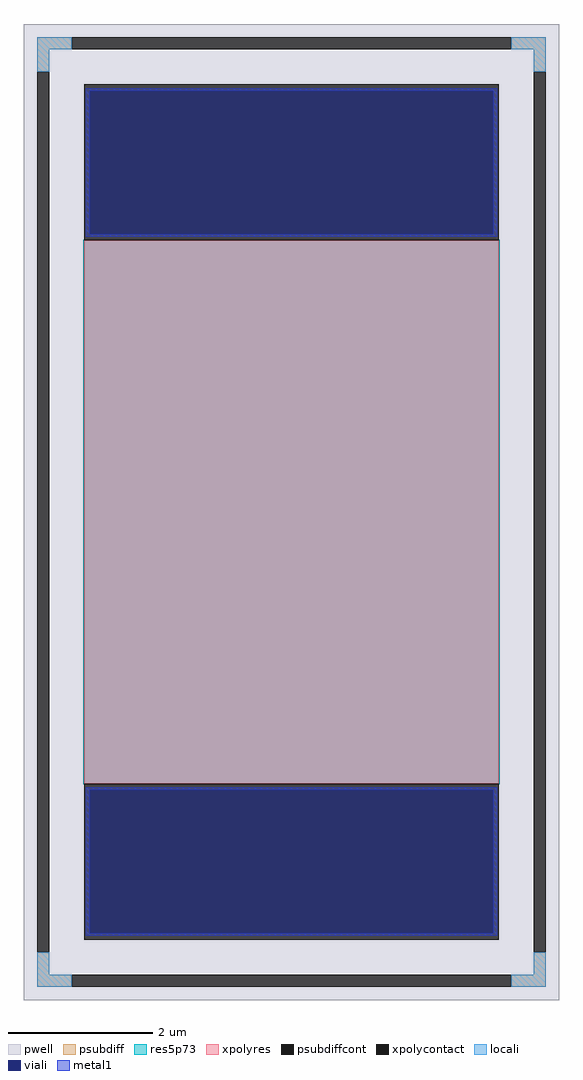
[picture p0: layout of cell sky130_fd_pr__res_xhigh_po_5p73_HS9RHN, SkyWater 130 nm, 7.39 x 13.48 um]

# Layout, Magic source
magic
tech sky130A
magscale 1 2
<< pwell >>
rect -739 -1348 739 1348
<< psubdiff >>
rect -703 1278 -607 1312
rect 607 1278 703 1312
rect -703 1216 -669 1278
rect 669 1216 703 1278
rect -703 -1278 -669 -1216
rect 669 -1278 703 -1216
rect -703 -1312 -607 -1278
rect 607 -1312 703 -1278
<< psubdiffcont >>
rect -607 1278 607 1312
rect -703 -1216 -669 1216
rect 669 -1216 703 1216
rect -607 -1312 607 -1278
<< xpolycontact >>
rect -573 750 573 1182
rect -573 -1182 573 -750
<< xpolyres >>
rect -573 -750 573 750
<< locali >>
rect -703 1278 -607 1312
rect 607 1278 703 1312
rect -703 1216 -669 1278
rect 669 1216 703 1278
rect -703 -1278 -669 -1216
rect 669 -1278 703 -1216
rect -703 -1312 -607 -1278
rect 607 -1312 703 -1278
<< viali >>
rect -557 767 557 1164
rect -557 -1164 557 -767
<< metal1 >>
rect -569 1164 569 1170
rect -569 767 -557 1164
rect 557 767 569 1164
rect -569 761 569 767
rect -569 -767 569 -761
rect -569 -1164 -557 -767
rect 557 -1164 569 -767
rect -569 -1170 569 -1164
<< res5p73 >>
rect -575 -752 575 752
<< properties >>
string FIXED_BBOX -686 -1295 686 1295
string gencell sky130_fd_pr__res_xhigh_po_5p73
string library sky130
string parameters w 5.730 l 7.5 m 1 nx 1 wmin 5.730 lmin 0.50 rho 2000 val 2.683k dummy 0 dw 0.0 term 188.2 sterm 0.0 caplen 0 wmax 5.730 guard 1 glc 1 grc 1 gtc 1 gbc 1 compatible {sky130_fd_pr__res_xhigh_po_0p35  sky130_fd_pr__res_xhigh_po_0p69 sky130_fd_pr__res_xhigh_po_1p41  sky130_fd_pr__res_xhigh_po_2p85 sky130_fd_pr__res_xhigh_po_5p73} full_metal 1 n_guard 0 hv_guard 0 vias 1 viagb 0 viagt 0 viagl 0 viagr 0
<< end >>
